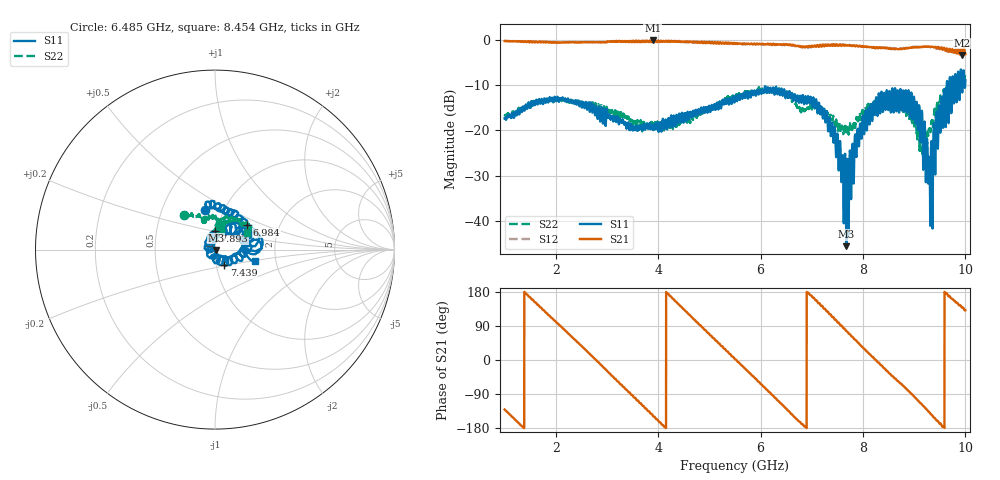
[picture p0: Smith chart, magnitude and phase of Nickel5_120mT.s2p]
#  HZ  S  RI  R  50.0
! Rohde & Schwarz ZVL13 2Ports - Version 3.31 - 1303.6509k13 SN: 101088
! Date: 2023-03-09 14:14:08
! Data & Calibration Information:
! Trc4:S11(TOSM) Trc2:S21(TOSM) Trc3:S12(TOSM) Trc5:S22(TOSM)
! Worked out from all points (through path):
!   4000 points, 1 GHz to 10 GHz, reference 50 ohm
!   highest |S21| = -0.13 dB at 3.892 GHz (marker M1); lowest = -3.3 dB at 9.941 GHz (marker M2)
!   group delay of S21, straight-line fit = 365 ps
!   lowest |S11| = -45.5 dB at 7.673 GHz (marker M3), VSWR 1.01, Z = 50.5 - j0.223 ohm
!   |S11| at or under -10 dB: start of sweep to 9.636 GHz; 9.652585 GHz to 9.687209 GHz (34.62 MHz wide, 0.358 % of centre); 9.709362 GHz to 9.739924 GHz (30.56 MHz wide, 0.314 % of centre)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
!   |S22| runs from -25.7 to -7.2 dB; largest |S21 - S12| = 0.074
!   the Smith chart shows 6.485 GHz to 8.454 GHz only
!   S11 on the Smith chart (normalised r, x): 6.485 GHz: 0.82, +0.38; 6.984 GHz: 1.37, +0.40; 7.439 GHz: 1.09, -0.19; 7.893 GHz: 0.98, +0.20; 8.454 GHz: 1.56, -0.20
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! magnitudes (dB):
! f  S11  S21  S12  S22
! 1 GHz  -17.3  -0.2  -0.2  -16.8
! 1.695 GHz  -14.1  -0.6  -0.4  -13.7
! 2.501 GHz  -14.5  -0.5  -0.6  -13.7
! 3.892 GHz  -19.1  -0.1  -0.2  -19.2
! 4 GHz  -19.5  -0.2  -0.2  -19.1
! 5.501 GHz  -13.2  -0.8  -0.9  -12.5
! 6.485 GHz  -12.8  -1.1  -1.1  -11.7
! 6.984 GHz  -12.9  -1.5  -1.7  -14.8
! 7 GHz  -14.3  -1.3  -1.4  -15.2
! 7.439 GHz  -20.0  -1.0  -1.3  -17.8
! 7.673 GHz  -45.5  -1.2  -1.0  -20.4
! 7.893 GHz  -19.8  -1.4  -1.3  -17.8
! 8.128 GHz  -18.5  -1.6  -1.6  -15.5
! 8.454 GHz  -12.7  -1.8  -1.8  -14.1
! 8.501 GHz  -14.4  -1.9  -1.9  -13.4
! 9.019 GHz  -18.1  -1.6  -1.6  -18.5
! 9.197 GHz  -18.3  -1.6  -1.5  -20.4
! 9.318 GHz  -33.3  -1.5  -1.6  -20.2
! 9.413 GHz  -27.4  -1.5  -1.7  -16.0
! 9.561 GHz  -19.3  -2.2  -2.0  -11.9
! 9.941 GHz  -11.1  -3.3  -2.6  -7.8
! 10 GHz  -8.9  -3.2  -2.7  -7.2
